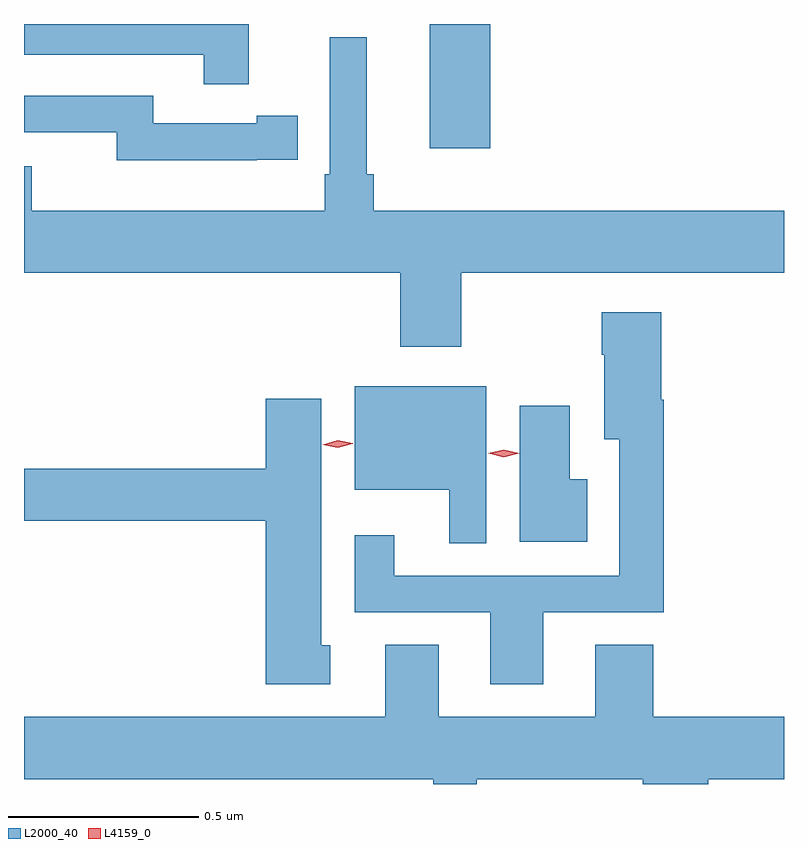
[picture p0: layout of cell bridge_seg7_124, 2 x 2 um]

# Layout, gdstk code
import gdstk
lib = gdstk.Library(unit=1e-6, precision=1e-09)
def R(c, l, rs):  # rectangles x0, y0, x1, y1
    for r in rs: c.add(gdstk.rectangle(r[:2], r[2:], *l))
def P(c, l, *ps):  # polygons
    for p in ps: c.add(gdstk.Polygon(p, *l))
L2000_40 = (2000, 40)
L4159_0 = (4159, 0)

bridge_seg7_124 = lib.new_cell('bridge_seg7_124')
R(bridge_seg7_124, L2000_40, [(802.034,1058.22,802.193,1058.547)])
P(bridge_seg7_124, L2000_40, [(801.557,1058.547),(800.966,1058.547),(800.966,1058.466),(801.439,1058.466),(801.439,1058.388),(801.557,1058.388)],
  [(802.116,1057.892),(802.966,1057.892),(802.966,1058.056),(801.887,1058.056),(801.887,1058.152),(801.868,1058.152),(801.868,1058.512),(801.771,1058.512),(801.771,1058.152),(801.758,1058.152),(801.758,1058.056),(800.986,1058.056),(800.986,1058.173),(800.966,1058.173),(800.966,1057.892),(801.956,1057.892),(801.956,1057.698),(802.116,1057.698)],
  [(801.578,1058.19),(801.686,1058.19),(801.686,1058.306),(801.578,1058.306),(801.578,1058.286),(801.306,1058.286),(801.306,1058.358),(800.966,1058.358),(800.966,1058.262),(801.21,1058.262),(801.21,1058.189),(801.578,1058.189)],
  [(802.333,1056.999),(802.649,1056.999),(802.649,1057.558),(802.643,1057.558),(802.643,1057.789),(802.486,1057.789),(802.486,1057.676),(802.493,1057.676),(802.493,1057.454),(802.533,1057.454),(802.533,1057.095),(801.94,1057.095),(801.94,1057.201),(801.836,1057.201),(801.836,1056.999),(802.193,1056.999),(802.193,1056.81),(802.333,1056.81)],
  [(802.182,1057.394),(802.183,1057.394),(802.183,1057.594),(801.836,1057.594),(801.836,1057.322),(802.085,1057.322),(802.085,1057.18),(802.182,1057.18)],
  [(801.772,1056.912),(801.748,1056.912),(801.748,1057.561),(801.602,1057.561),(801.602,1057.376),(800.966,1057.376),(800.966,1057.24),(801.602,1057.24),(801.602,1056.81),(801.772,1056.81)],
  [(802.448,1057.349),(802.402,1057.349),(802.402,1057.543),(802.271,1057.543),(802.271,1057.184),(802.448,1057.184)],
  [(802.157,1056.56),(802.594,1056.56),(802.594,1056.547),(802.766,1056.547),(802.766,1056.56),(802.966,1056.56),(802.966,1056.724),(802.622,1056.724),(802.622,1056.914),(802.469,1056.914),(802.469,1056.724),(802.057,1056.724),(802.057,1056.914),(801.917,1056.914),(801.917,1056.724),(800.966,1056.724),(800.966,1056.56),(802.043,1056.56),(802.043,1056.547),(802.157,1056.547)])
P(bridge_seg7_124, L4159_0, [(802.228,1057.407),(802.188,1057.417),(802.188,1057.417),(802.188,1057.418),(802.228,1057.427),(802.269,1057.418),(802.269,1057.417),(802.269,1057.417)],
  [(801.792,1057.432),(801.752,1057.44),(801.752,1057.44),(801.752,1057.44),(801.791,1057.452),(801.831,1057.444),(801.831,1057.443),(801.831,1057.443)])

lib.write_gds('bridge_seg7_124.gds')
